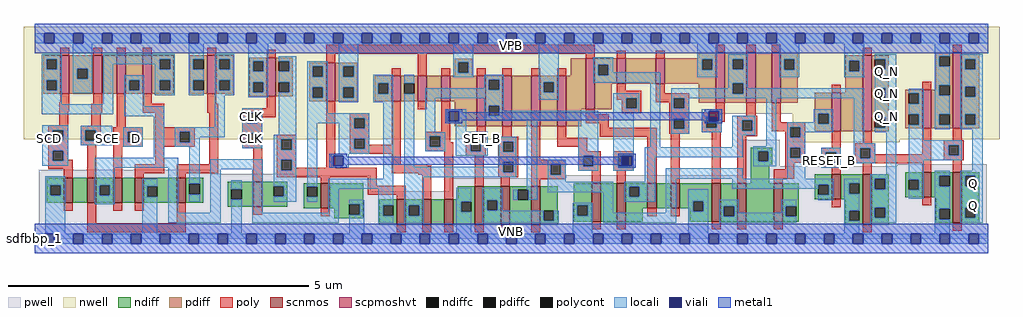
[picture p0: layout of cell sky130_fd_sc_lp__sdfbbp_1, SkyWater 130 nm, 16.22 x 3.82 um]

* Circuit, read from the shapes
.subckt sky130_fd_sc_lp__sdfbbp_1 CLK D RESET_B SCD SCE SET_B VGND VNB VPB VPWR Q Q_N
XM1 n1 SCD VGND VNB sky130_fd_pr__nfet_01v8 w=0.42 l=0.15
XM2 n2 SCE n1 VNB sky130_fd_pr__nfet_01v8 w=0.42 l=0.15
XM3 n3 D n2 VNB sky130_fd_pr__nfet_01v8 w=0.42 l=0.15
XM4 VGND n4 n3 VNB sky130_fd_pr__nfet_01v8 w=0.42 l=0.15
XM5 n4 SCE VGND VNB sky130_fd_pr__nfet_01v8 w=0.42 l=0.15
XM6 n5 CLK VGND VNB sky130_fd_pr__nfet_01v8 w=0.42 l=0.15
XM7 VGND n5 n6 VNB sky130_fd_pr__nfet_01v8 w=0.42 l=0.15
XM8 n7 n5 n2 VNB sky130_fd_pr__nfet_01v8 w=0.42 l=0.15
XM9 n8 n6 n7 VNB sky130_fd_pr__nfet_01v8 w=0.42 l=0.15
XM10 VGND n9 n8 VNB sky130_fd_pr__nfet_01v8 w=0.42 l=0.15
XM11 n10 SET_B VGND VNB sky130_fd_pr__nfet_01v8 w=0.64 l=0.15
XM12 n9 n7 n10 VNB sky130_fd_pr__nfet_01v8 w=0.64 l=0.15
XM13 n10 n11 n9 VNB sky130_fd_pr__nfet_01v8 w=0.64 l=0.15
XM14 n12 n9 VGND VNB sky130_fd_pr__nfet_01v8 w=0.64 l=0.15
XM15 n13 n6 n12 VNB sky130_fd_pr__nfet_01v8 w=0.64 l=0.15
XM16 n14 n5 n13 VNB sky130_fd_pr__nfet_01v8 w=0.42 l=0.15
XM17 VGND n15 n14 VNB sky130_fd_pr__nfet_01v8 w=0.42 l=0.15
XM18 n16 SET_B VGND VNB sky130_fd_pr__nfet_01v8 w=0.64 l=0.15
XM19 n15 n13 n16 VNB sky130_fd_pr__nfet_01v8 w=0.64 l=0.15
XM20 n16 n11 n15 VNB sky130_fd_pr__nfet_01v8 w=0.64 l=0.15
XM21 VGND RESET_B n11 VNB sky130_fd_pr__nfet_01v8 w=0.42 l=0.15
XM22 Q_N n15 VGND VNB sky130_fd_pr__nfet_01v8 w=0.84 l=0.15
XM23 VGND n15 n17 VNB sky130_fd_pr__nfet_01v8 w=0.42 l=0.15
XM24 Q n17 VGND VNB sky130_fd_pr__nfet_01v8 w=0.84 l=0.15
XM25 VPWR SCD n18 VPB sky130_fd_pr__pfet_01v8_hvt w=0.64 l=0.15
XM26 n19 SCE VPWR VPB sky130_fd_pr__pfet_01v8_hvt w=0.64 l=0.15
XM27 n2 D n19 VPB sky130_fd_pr__pfet_01v8_hvt w=0.64 l=0.15
XM28 n18 n4 n2 VPB sky130_fd_pr__pfet_01v8_hvt w=0.64 l=0.15
XM29 n4 SCE VPWR VPB sky130_fd_pr__pfet_01v8_hvt w=0.64 l=0.15
XM30 n5 CLK VPWR VPB sky130_fd_pr__pfet_01v8_hvt w=0.64 l=0.15
XM31 VPWR n5 n6 VPB sky130_fd_pr__pfet_01v8_hvt w=0.64 l=0.15
XM32 n7 n6 n2 VPB sky130_fd_pr__pfet_01v8_hvt w=0.42 l=0.15
XM33 n20 n5 n7 VPB sky130_fd_pr__pfet_01v8_hvt w=0.42 l=0.15
XM34 VPWR n9 n20 VPB sky130_fd_pr__pfet_01v8_hvt w=0.42 l=0.15
XM35 n9 SET_B VPWR VPB sky130_fd_pr__pfet_01v8_hvt w=0.84 l=0.15
XM36 n21 n7 n9 VPB sky130_fd_pr__pfet_01v8_hvt w=0.84 l=0.15
XM37 VPWR n11 n21 VPB sky130_fd_pr__pfet_01v8_hvt w=0.84 l=0.15
XM38 n22 n9 VPWR VPB sky130_fd_pr__pfet_01v8_hvt w=0.84 l=0.15
XM39 n13 n5 n22 VPB sky130_fd_pr__pfet_01v8_hvt w=0.84 l=0.15
XM40 n23 n6 n13 VPB sky130_fd_pr__pfet_01v8_hvt w=0.42 l=0.15
XM41 VPWR n15 n23 VPB sky130_fd_pr__pfet_01v8_hvt w=0.42 l=0.15
XM42 n15 SET_B VPWR VPB sky130_fd_pr__pfet_01v8_hvt w=0.84 l=0.15
XM43 n24 n13 n15 VPB sky130_fd_pr__pfet_01v8_hvt w=0.84 l=0.15
XM44 VPWR n11 n24 VPB sky130_fd_pr__pfet_01v8_hvt w=0.84 l=0.15
XM45 VPWR RESET_B n11 VPB sky130_fd_pr__pfet_01v8_hvt w=0.64 l=0.15
XM46 Q_N n15 VPWR VPB sky130_fd_pr__pfet_01v8_hvt w=1.26 l=0.15
XM47 VPWR n15 n17 VPB sky130_fd_pr__pfet_01v8_hvt w=0.64 l=0.15
XM48 Q n17 VPWR VPB sky130_fd_pr__pfet_01v8_hvt w=1.26 l=0.15
.ends

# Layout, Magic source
magic
tech sky130A
magscale 1 2
<< nwell >>
rect -38 415 3206 704
rect -38 331 2264 415
rect 2518 331 3206 415
rect 2518 321 2874 331
<< pwell >>
rect 2354 241 2476 329
rect 2866 241 3164 247
rect 13 216 585 229
rect 13 211 865 216
rect 2354 211 3164 241
rect 13 157 1117 211
rect 1765 201 3164 211
rect 1379 157 3164 201
rect 13 49 3164 157
rect 0 0 3168 49
<< scnmos >>
rect 96 119 126 203
rect 174 119 204 203
rect 260 119 290 203
rect 332 119 362 203
rect 472 119 502 203
rect 725 106 755 190
rect 950 101 980 185
rect 1202 47 1232 131
rect 1288 47 1318 131
rect 1360 47 1390 131
rect 1462 47 1492 175
rect 1548 47 1578 175
rect 1650 47 1680 175
rect 1850 57 1880 185
rect 1934 57 1964 185
rect 2036 101 2066 185
rect 2114 101 2144 185
rect 2249 57 2279 185
rect 2335 57 2365 185
rect 2455 57 2485 185
rect 2649 131 2679 215
rect 2751 47 2781 215
rect 2949 137 2979 221
rect 3051 53 3081 221
<< scpmoshvt >>
rect 84 481 114 609
rect 194 481 224 609
rect 272 481 302 609
rect 358 481 388 609
rect 572 481 602 609
rect 770 474 800 602
rect 968 457 998 585
rect 1186 457 1216 541
rect 1272 457 1302 541
rect 1350 457 1380 541
rect 1468 373 1498 541
rect 1554 373 1584 541
rect 1650 373 1680 541
rect 1736 373 1766 541
rect 1831 431 1861 599
rect 1933 515 1963 599
rect 2064 515 2094 599
rect 2263 451 2293 619
rect 2365 451 2395 619
rect 2449 451 2479 619
rect 2649 357 2679 485
rect 2751 357 2781 609
rect 2949 367 2979 495
rect 3051 367 3081 619
<< ndiff >>
rect 39 178 96 203
rect 39 144 51 178
rect 85 144 96 178
rect 39 119 96 144
rect 126 119 174 203
rect 204 178 260 203
rect 204 144 215 178
rect 249 144 260 178
rect 204 119 260 144
rect 290 119 332 203
rect 362 174 472 203
rect 362 140 373 174
rect 407 140 472 174
rect 362 119 472 140
rect 502 182 559 203
rect 502 148 513 182
rect 547 148 559 182
rect 502 119 559 148
rect 641 165 725 190
rect 641 131 653 165
rect 687 131 725 165
rect 641 106 725 131
rect 755 175 839 190
rect 755 141 793 175
rect 827 141 839 175
rect 755 106 839 141
rect 893 173 950 185
rect 893 139 905 173
rect 939 139 950 173
rect 893 101 950 139
rect 980 114 1091 185
rect 2380 291 2450 303
rect 2380 257 2404 291
rect 2438 257 2450 291
rect 2380 245 2450 257
rect 2380 185 2440 245
rect 1405 131 1462 175
rect 980 101 1045 114
rect 995 80 1045 101
rect 1079 80 1091 114
rect 995 68 1091 80
rect 1145 111 1202 131
rect 1145 77 1157 111
rect 1191 77 1202 111
rect 1145 47 1202 77
rect 1232 111 1288 131
rect 1232 77 1243 111
rect 1277 77 1288 111
rect 1232 47 1288 77
rect 1318 47 1360 131
rect 1390 123 1462 131
rect 1390 89 1417 123
rect 1451 89 1462 123
rect 1390 47 1462 89
rect 1492 128 1548 175
rect 1492 94 1503 128
rect 1537 94 1548 128
rect 1492 47 1548 94
rect 1578 163 1650 175
rect 1578 129 1605 163
rect 1639 129 1650 163
rect 1578 47 1650 129
rect 1680 93 1737 175
rect 1680 59 1691 93
rect 1725 59 1737 93
rect 1680 47 1737 59
rect 1791 111 1850 185
rect 1791 77 1803 111
rect 1837 77 1850 111
rect 1791 57 1850 77
rect 1880 57 1934 185
rect 1964 173 2036 185
rect 1964 139 1975 173
rect 2009 139 2036 173
rect 1964 101 2036 139
rect 2066 101 2114 185
rect 2144 125 2249 185
rect 2144 101 2188 125
rect 1964 57 2021 101
rect 2176 91 2188 101
rect 2222 91 2249 125
rect 2176 57 2249 91
rect 2279 108 2335 185
rect 2279 74 2290 108
rect 2324 74 2335 108
rect 2279 57 2335 74
rect 2365 57 2455 185
rect 2485 108 2538 185
rect 2592 180 2649 215
rect 2592 146 2604 180
rect 2638 146 2649 180
rect 2592 131 2649 146
rect 2679 184 2751 215
rect 2679 150 2706 184
rect 2740 150 2751 184
rect 2679 131 2751 150
rect 2485 74 2496 108
rect 2530 74 2538 108
rect 2485 57 2538 74
rect 2694 93 2751 131
rect 2694 59 2706 93
rect 2740 59 2751 93
rect 2694 47 2751 59
rect 2781 199 2838 215
rect 2781 165 2792 199
rect 2826 165 2838 199
rect 2781 103 2838 165
rect 2892 196 2949 221
rect 2892 162 2904 196
rect 2938 162 2949 196
rect 2892 137 2949 162
rect 2979 209 3051 221
rect 2979 175 3006 209
rect 3040 175 3051 209
rect 2979 137 3051 175
rect 2781 69 2792 103
rect 2826 69 2838 103
rect 2781 47 2838 69
rect 2994 99 3051 137
rect 2994 65 3006 99
rect 3040 65 3051 99
rect 2994 53 3051 65
rect 3081 209 3138 221
rect 3081 175 3092 209
rect 3126 175 3138 209
rect 3081 103 3138 175
rect 3081 69 3092 103
rect 3126 69 3138 103
rect 3081 53 3138 69
<< pdiff >>
rect 27 597 84 609
rect 27 563 39 597
rect 73 563 84 597
rect 27 527 84 563
rect 27 493 39 527
rect 73 493 84 527
rect 27 481 84 493
rect 114 565 194 609
rect 114 531 141 565
rect 175 531 194 565
rect 114 481 194 531
rect 224 481 272 609
rect 302 527 358 609
rect 302 493 313 527
rect 347 493 358 527
rect 302 481 358 493
rect 388 597 461 609
rect 388 563 415 597
rect 449 563 461 597
rect 388 527 461 563
rect 388 493 415 527
rect 449 493 461 527
rect 388 481 461 493
rect 515 597 572 609
rect 515 563 527 597
rect 561 563 572 597
rect 515 527 572 563
rect 515 493 527 527
rect 561 493 572 527
rect 515 481 572 493
rect 602 597 659 609
rect 602 563 613 597
rect 647 563 659 597
rect 602 527 659 563
rect 602 493 613 527
rect 647 493 659 527
rect 602 481 659 493
rect 713 590 770 602
rect 713 556 725 590
rect 759 556 770 590
rect 713 520 770 556
rect 713 486 725 520
rect 759 486 770 520
rect 713 474 770 486
rect 800 590 857 602
rect 800 556 811 590
rect 845 556 857 590
rect 800 520 857 556
rect 800 486 811 520
rect 845 486 857 520
rect 800 474 857 486
rect 911 573 968 585
rect 911 539 923 573
rect 957 539 968 573
rect 911 503 968 539
rect 911 469 923 503
rect 957 469 968 503
rect 911 457 968 469
rect 998 573 1071 585
rect 998 539 1025 573
rect 1059 539 1071 573
rect 2206 599 2263 619
rect 1395 586 1453 598
rect 1395 552 1407 586
rect 1441 552 1453 586
rect 1395 541 1453 552
rect 1781 541 1831 599
rect 998 503 1071 539
rect 998 469 1025 503
rect 1059 469 1071 503
rect 998 457 1071 469
rect 1129 516 1186 541
rect 1129 482 1141 516
rect 1175 482 1186 516
rect 1129 457 1186 482
rect 1216 516 1272 541
rect 1216 482 1227 516
rect 1261 482 1272 516
rect 1216 457 1272 482
rect 1302 457 1350 541
rect 1380 457 1468 541
rect 1395 373 1468 457
rect 1498 529 1554 541
rect 1498 495 1509 529
rect 1543 495 1554 529
rect 1498 442 1554 495
rect 1498 408 1509 442
rect 1543 408 1554 442
rect 1498 373 1554 408
rect 1584 373 1650 541
rect 1680 520 1736 541
rect 1680 486 1691 520
rect 1725 486 1736 520
rect 1680 373 1736 486
rect 1766 431 1831 541
rect 1861 578 1933 599
rect 1861 544 1872 578
rect 1906 544 1933 578
rect 1861 515 1933 544
rect 1963 515 2064 599
rect 2094 596 2263 599
rect 2094 562 2218 596
rect 2252 562 2263 596
rect 2094 515 2263 562
rect 1861 431 1918 515
rect 1766 373 1816 431
rect 2206 451 2263 515
rect 2293 597 2365 619
rect 2293 563 2320 597
rect 2354 563 2365 597
rect 2293 516 2365 563
rect 2293 482 2320 516
rect 2354 482 2365 516
rect 2293 451 2365 482
rect 2395 451 2449 619
rect 2479 596 2536 619
rect 2479 562 2490 596
rect 2524 562 2536 596
rect 2479 451 2536 562
rect 2694 591 2751 609
rect 2694 557 2706 591
rect 2740 557 2751 591
rect 2694 485 2751 557
rect 2592 416 2649 485
rect 2592 382 2604 416
rect 2638 382 2649 416
rect 2592 357 2649 382
rect 2679 357 2751 485
rect 2781 597 2838 609
rect 2781 563 2792 597
rect 2826 563 2838 597
rect 2781 500 2838 563
rect 2994 607 3051 619
rect 2994 573 3006 607
rect 3040 573 3051 607
rect 2781 466 2792 500
rect 2826 466 2838 500
rect 2994 510 3051 573
rect 2994 495 3006 510
rect 2781 403 2838 466
rect 2781 369 2792 403
rect 2826 369 2838 403
rect 2781 357 2838 369
rect 2892 483 2949 495
rect 2892 449 2904 483
rect 2938 449 2949 483
rect 2892 413 2949 449
rect 2892 379 2904 413
rect 2938 379 2949 413
rect 2892 367 2949 379
rect 2979 476 3006 495
rect 3040 476 3051 510
rect 2979 413 3051 476
rect 2979 379 3006 413
rect 3040 379 3051 413
rect 2979 367 3051 379
rect 3081 597 3138 619
rect 3081 563 3092 597
rect 3126 563 3138 597
rect 3081 505 3138 563
rect 3081 471 3092 505
rect 3126 471 3138 505
rect 3081 413 3138 471
rect 3081 379 3092 413
rect 3126 379 3138 413
rect 3081 367 3138 379
<< ndiffc >>
rect 51 144 85 178
rect 215 144 249 178
rect 373 140 407 174
rect 513 148 547 182
rect 653 131 687 165
rect 793 141 827 175
rect 905 139 939 173
rect 2404 257 2438 291
rect 1045 80 1079 114
rect 1157 77 1191 111
rect 1243 77 1277 111
rect 1417 89 1451 123
rect 1503 94 1537 128
rect 1605 129 1639 163
rect 1691 59 1725 93
rect 1803 77 1837 111
rect 1975 139 2009 173
rect 2188 91 2222 125
rect 2290 74 2324 108
rect 2604 146 2638 180
rect 2706 150 2740 184
rect 2496 74 2530 108
rect 2706 59 2740 93
rect 2792 165 2826 199
rect 2904 162 2938 196
rect 3006 175 3040 209
rect 2792 69 2826 103
rect 3006 65 3040 99
rect 3092 175 3126 209
rect 3092 69 3126 103
<< pdiffc >>
rect 39 563 73 597
rect 39 493 73 527
rect 141 531 175 565
rect 313 493 347 527
rect 415 563 449 597
rect 415 493 449 527
rect 527 563 561 597
rect 527 493 561 527
rect 613 563 647 597
rect 613 493 647 527
rect 725 556 759 590
rect 725 486 759 520
rect 811 556 845 590
rect 811 486 845 520
rect 923 539 957 573
rect 923 469 957 503
rect 1025 539 1059 573
rect 1407 552 1441 586
rect 1025 469 1059 503
rect 1141 482 1175 516
rect 1227 482 1261 516
rect 1509 495 1543 529
rect 1509 408 1543 442
rect 1691 486 1725 520
rect 1872 544 1906 578
rect 2218 562 2252 596
rect 2320 563 2354 597
rect 2320 482 2354 516
rect 2490 562 2524 596
rect 2706 557 2740 591
rect 2604 382 2638 416
rect 2792 563 2826 597
rect 3006 573 3040 607
rect 2792 466 2826 500
rect 2792 369 2826 403
rect 2904 449 2938 483
rect 2904 379 2938 413
rect 3006 476 3040 510
rect 3006 379 3040 413
rect 3092 563 3126 597
rect 3092 471 3126 505
rect 3092 379 3126 413
<< poly >>
rect 84 609 114 635
rect 194 609 224 635
rect 272 609 302 635
rect 358 609 388 635
rect 572 609 602 635
rect 770 602 800 628
rect 968 615 1861 645
rect 84 454 114 481
rect 80 424 114 454
rect 194 449 224 481
rect 80 377 110 424
rect 44 361 110 377
rect 188 419 224 449
rect 188 376 218 419
rect 44 327 60 361
rect 94 327 110 361
rect 44 293 110 327
rect 152 360 218 376
rect 272 371 302 481
rect 358 449 388 481
rect 572 449 602 481
rect 968 585 998 615
rect 358 419 430 449
rect 572 419 609 449
rect 770 434 800 474
rect 1186 541 1216 567
rect 1272 541 1302 615
rect 1831 599 1861 615
rect 1933 599 1963 625
rect 2064 599 2094 625
rect 2263 619 2293 645
rect 2365 619 2395 645
rect 2449 619 2479 645
rect 1350 541 1380 567
rect 1468 541 1498 567
rect 1554 541 1584 567
rect 1650 541 1680 567
rect 1736 541 1766 567
rect 400 371 430 419
rect 152 326 168 360
rect 202 326 218 360
rect 152 310 218 326
rect 260 355 358 371
rect 260 321 308 355
rect 342 321 358 355
rect 44 259 60 293
rect 94 262 110 293
rect 94 259 126 262
rect 44 232 126 259
rect 96 203 126 232
rect 174 203 204 310
rect 260 305 358 321
rect 400 355 531 371
rect 400 321 481 355
rect 515 321 531 355
rect 400 305 531 321
rect 260 203 290 305
rect 400 248 430 305
rect 579 248 609 419
rect 689 418 800 434
rect 689 384 705 418
rect 739 404 800 418
rect 739 384 755 404
rect 689 350 755 384
rect 689 316 705 350
rect 739 316 755 350
rect 689 300 755 316
rect 332 218 430 248
rect 472 218 609 248
rect 332 203 362 218
rect 472 203 502 218
rect 725 190 755 300
rect 803 330 869 346
rect 803 296 819 330
rect 853 296 869 330
rect 803 262 869 296
rect 803 228 819 262
rect 853 235 869 262
rect 968 235 998 457
rect 1046 401 1112 417
rect 1046 367 1062 401
rect 1096 367 1112 401
rect 1046 333 1112 367
rect 1046 299 1062 333
rect 1096 313 1112 333
rect 1186 313 1216 457
rect 1272 431 1302 457
rect 1350 356 1380 457
rect 1933 491 1963 515
rect 1933 467 2016 491
rect 1933 461 1966 467
rect 1950 433 1966 461
rect 2000 433 2016 467
rect 2064 483 2094 515
rect 2064 467 2174 483
rect 2064 453 2124 467
rect 1831 413 1861 431
rect 1950 417 2016 433
rect 2108 433 2124 453
rect 2158 433 2174 467
rect 2751 609 2781 635
rect 3051 619 3081 645
rect 2649 485 2679 511
rect 1831 383 1908 413
rect 1096 299 1216 313
rect 1046 283 1216 299
rect 1297 340 1380 356
rect 1468 341 1498 373
rect 1297 306 1313 340
rect 1347 320 1380 340
rect 1432 325 1498 341
rect 1554 339 1584 373
rect 1347 306 1390 320
rect 1297 290 1390 306
rect 1186 248 1216 283
rect 1186 242 1304 248
rect 853 228 1136 235
rect 803 205 1136 228
rect 1186 218 1318 242
rect 1274 212 1318 218
rect 96 93 126 119
rect 174 51 204 119
rect 260 93 290 119
rect 332 93 362 119
rect 472 51 502 119
rect 950 185 980 205
rect 725 80 755 106
rect 1106 176 1136 205
rect 1106 146 1232 176
rect 1202 131 1232 146
rect 1288 131 1318 212
rect 1360 131 1390 290
rect 1432 291 1448 325
rect 1482 291 1498 325
rect 1432 275 1498 291
rect 1540 323 1606 339
rect 1540 289 1556 323
rect 1590 289 1606 323
rect 1462 175 1492 275
rect 1540 255 1606 289
rect 1540 221 1556 255
rect 1590 221 1606 255
rect 1540 205 1606 221
rect 1650 263 1680 373
rect 1736 335 1766 373
rect 1878 369 1908 383
rect 2108 399 2174 433
rect 2263 419 2293 451
rect 1878 339 2066 369
rect 2108 365 2124 399
rect 2158 365 2174 399
rect 2108 349 2174 365
rect 2216 403 2293 419
rect 2365 409 2395 451
rect 2216 369 2232 403
rect 2266 389 2293 403
rect 2335 393 2401 409
rect 2266 369 2282 389
rect 2216 353 2282 369
rect 2335 359 2351 393
rect 2385 359 2401 393
rect 1736 305 1836 335
rect 1806 291 1836 305
rect 1806 275 1880 291
rect 1650 247 1764 263
rect 1650 213 1714 247
rect 1748 213 1764 247
rect 1806 241 1822 275
rect 1856 241 1880 275
rect 1806 225 1880 241
rect 1922 275 1988 291
rect 1922 241 1938 275
rect 1972 241 1988 275
rect 1922 225 1988 241
rect 1548 175 1578 205
rect 1650 197 1764 213
rect 1650 175 1680 197
rect 1850 185 1880 225
rect 1934 185 1964 225
rect 2036 185 2066 339
rect 2114 185 2144 349
rect 2249 185 2279 353
rect 2335 341 2401 359
rect 2449 387 2479 451
rect 2449 371 2560 387
rect 2449 357 2510 371
rect 2335 185 2365 341
rect 2494 337 2510 357
rect 2544 337 2560 371
rect 2949 495 2979 521
rect 2494 303 2560 337
rect 2649 303 2679 357
rect 2751 317 2781 357
rect 2494 269 2510 303
rect 2544 269 2560 303
rect 2494 253 2560 269
rect 2613 287 2679 303
rect 2613 253 2629 287
rect 2663 253 2679 287
rect 2494 230 2524 253
rect 2613 237 2679 253
rect 2727 301 2793 317
rect 2727 267 2743 301
rect 2777 281 2793 301
rect 2949 281 2979 367
rect 3051 327 3081 367
rect 2777 267 2979 281
rect 2727 251 2979 267
rect 3021 311 3087 327
rect 3021 277 3037 311
rect 3071 277 3087 311
rect 3021 261 3087 277
rect 2455 200 2524 230
rect 2649 215 2679 237
rect 2751 215 2781 251
rect 2949 221 2979 251
rect 3051 221 3081 261
rect 2455 185 2485 200
rect 950 75 980 101
rect 174 21 502 51
rect 2036 75 2066 101
rect 2114 75 2144 101
rect 2649 105 2679 131
rect 1202 21 1232 47
rect 1288 21 1318 47
rect 1360 21 1390 47
rect 1462 21 1492 47
rect 1548 21 1578 47
rect 1650 21 1680 47
rect 1850 31 1880 57
rect 1934 31 1964 57
rect 2249 31 2279 57
rect 2335 31 2365 57
rect 2455 31 2485 57
rect 2949 111 2979 137
rect 2751 21 2781 47
rect 3051 27 3081 53
<< polycont >>
rect 60 327 94 361
rect 168 326 202 360
rect 308 321 342 355
rect 60 259 94 293
rect 481 321 515 355
rect 705 384 739 418
rect 705 316 739 350
rect 819 296 853 330
rect 819 228 853 262
rect 1062 367 1096 401
rect 1062 299 1096 333
rect 1966 433 2000 467
rect 2124 433 2158 467
rect 1313 306 1347 340
rect 1448 291 1482 325
rect 1556 289 1590 323
rect 1556 221 1590 255
rect 2124 365 2158 399
rect 2232 369 2266 403
rect 2351 359 2385 393
rect 1714 213 1748 247
rect 1822 241 1856 275
rect 1938 241 1972 275
rect 2510 337 2544 371
rect 2510 269 2544 303
rect 2629 253 2663 287
rect 2743 267 2777 301
rect 3037 277 3071 311
<< locali >>
rect 0 649 31 683
rect 65 649 127 683
rect 161 649 223 683
rect 257 649 319 683
rect 353 649 415 683
rect 449 649 511 683
rect 545 649 607 683
rect 641 649 703 683
rect 737 649 799 683
rect 833 649 895 683
rect 929 649 991 683
rect 1025 649 1087 683
rect 1121 649 1183 683
rect 1217 649 1279 683
rect 1313 649 1375 683
rect 1409 649 1471 683
rect 1505 649 1567 683
rect 1601 649 1663 683
rect 1697 649 1759 683
rect 1793 649 1855 683
rect 1889 649 1951 683
rect 1985 649 2047 683
rect 2081 649 2143 683
rect 2177 649 2239 683
rect 2273 649 2335 683
rect 2369 649 2431 683
rect 2465 649 2527 683
rect 2561 649 2623 683
rect 2657 649 2719 683
rect 2753 649 2815 683
rect 2849 649 2911 683
rect 2945 649 3007 683
rect 3041 649 3103 683
rect 3137 649 3168 683
rect 23 597 89 613
rect 23 563 39 597
rect 73 563 89 597
rect 23 527 89 563
rect 23 493 39 527
rect 73 493 89 527
rect 23 447 89 493
rect 125 565 191 649
rect 125 531 141 565
rect 175 531 191 565
rect 125 483 191 531
rect 227 597 465 613
rect 227 579 415 597
rect 227 447 261 579
rect 399 563 415 579
rect 449 563 465 597
rect 23 413 261 447
rect 297 527 363 543
rect 297 493 313 527
rect 347 493 363 527
rect 297 441 363 493
rect 399 527 465 563
rect 399 493 415 527
rect 449 493 465 527
rect 399 477 465 493
rect 511 597 561 649
rect 511 563 527 597
rect 511 527 561 563
rect 511 493 527 527
rect 511 477 561 493
rect 597 597 663 613
rect 597 563 613 597
rect 647 563 663 597
rect 597 527 663 563
rect 597 493 613 527
rect 647 493 663 527
rect 597 477 663 493
rect 709 590 775 649
rect 709 556 725 590
rect 759 556 775 590
rect 709 520 775 556
rect 709 486 725 520
rect 759 486 775 520
rect 297 407 429 441
rect 25 361 110 377
rect 25 327 60 361
rect 94 327 110 361
rect 25 293 110 327
rect 152 360 257 376
rect 152 326 168 360
rect 202 326 257 360
rect 152 310 257 326
rect 293 355 359 371
rect 293 321 308 355
rect 342 321 359 355
rect 293 305 359 321
rect 25 259 60 293
rect 94 259 110 293
rect 395 269 429 407
rect 597 371 631 477
rect 709 470 775 486
rect 811 590 869 606
rect 845 556 869 590
rect 811 520 869 556
rect 845 486 869 520
rect 465 355 631 371
rect 465 321 481 355
rect 515 337 631 355
rect 689 418 755 434
rect 689 384 705 418
rect 739 384 755 418
rect 689 350 755 384
rect 515 321 547 337
rect 465 305 547 321
rect 25 243 110 259
rect 199 235 477 269
rect 35 178 101 207
rect 35 144 51 178
rect 85 144 101 178
rect 35 17 101 144
rect 199 178 265 235
rect 199 144 215 178
rect 249 144 265 178
rect 199 115 265 144
rect 357 174 407 199
rect 357 140 373 174
rect 357 17 407 140
rect 443 87 477 235
rect 513 182 547 305
rect 689 316 705 350
rect 739 316 755 350
rect 811 346 869 486
rect 689 300 755 316
rect 793 330 869 346
rect 793 296 819 330
rect 853 296 869 330
rect 513 123 547 148
rect 583 230 757 264
rect 583 87 617 230
rect 443 53 617 87
rect 653 165 687 194
rect 653 17 687 131
rect 723 87 757 230
rect 793 262 869 296
rect 793 228 819 262
rect 853 228 869 262
rect 793 175 869 228
rect 827 141 869 175
rect 793 123 869 141
rect 905 573 973 589
rect 905 539 923 573
rect 957 539 973 573
rect 905 503 973 539
rect 905 469 923 503
rect 957 469 973 503
rect 905 417 973 469
rect 1009 573 1075 649
rect 1009 539 1025 573
rect 1059 539 1075 573
rect 1391 586 1457 649
rect 1391 552 1407 586
rect 1441 552 1457 586
rect 1009 503 1075 539
rect 1009 469 1025 503
rect 1059 469 1075 503
rect 1009 453 1075 469
rect 1125 516 1191 545
rect 1125 482 1141 516
rect 1175 482 1191 516
rect 1125 453 1191 482
rect 905 401 1112 417
rect 905 383 1062 401
rect 905 173 939 383
rect 1009 367 1062 383
rect 1096 367 1112 401
rect 1009 333 1112 367
rect 1009 299 1062 333
rect 1096 299 1112 333
rect 1009 283 1112 299
rect 1009 282 1043 283
rect 985 276 1043 282
rect 985 242 991 276
rect 1025 242 1043 276
rect 985 236 1043 242
rect 1157 200 1191 453
rect 905 123 939 139
rect 975 166 1191 200
rect 975 87 1009 166
rect 723 53 1009 87
rect 1045 114 1095 130
rect 1079 80 1095 114
rect 1045 17 1095 80
rect 1141 111 1191 166
rect 1141 77 1157 111
rect 1141 53 1191 77
rect 1227 516 1261 545
rect 1391 536 1457 552
rect 1493 529 1559 545
rect 1493 500 1509 529
rect 1227 239 1261 482
rect 1297 495 1509 500
rect 1543 495 1559 529
rect 1297 466 1559 495
rect 1297 354 1331 466
rect 1493 442 1559 466
rect 1675 520 1741 649
rect 1675 486 1691 520
rect 1725 486 1741 520
rect 1856 578 1922 603
rect 1856 544 1872 578
rect 1906 553 1922 578
rect 2202 596 2268 649
rect 2202 562 2218 596
rect 2252 562 2268 596
rect 1906 544 2079 553
rect 1856 519 2079 544
rect 2202 536 2268 562
rect 2304 597 2370 613
rect 2304 563 2320 597
rect 2354 563 2370 597
rect 1675 462 1741 486
rect 1922 467 2009 483
rect 1369 424 1433 430
rect 1369 390 1375 424
rect 1409 390 1433 424
rect 1493 408 1509 442
rect 1543 426 1559 442
rect 1922 433 1966 467
rect 2000 433 2009 467
rect 1543 408 1872 426
rect 1493 392 1872 408
rect 1399 356 1433 390
rect 1297 340 1363 354
rect 1297 306 1313 340
rect 1347 306 1363 340
rect 1297 290 1363 306
rect 1399 325 1505 356
rect 1399 291 1448 325
rect 1482 291 1505 325
rect 1399 275 1505 291
rect 1541 323 1599 339
rect 1541 289 1556 323
rect 1590 289 1599 323
rect 1541 255 1599 289
rect 1541 239 1556 255
rect 1227 221 1556 239
rect 1590 221 1599 255
rect 1227 205 1599 221
rect 1227 111 1293 205
rect 1227 77 1243 111
rect 1277 77 1293 111
rect 1227 53 1293 77
rect 1401 123 1451 169
rect 1401 89 1417 123
rect 1401 17 1451 89
rect 1487 128 1553 169
rect 1635 163 1669 392
rect 1806 275 1872 392
rect 1589 129 1605 163
rect 1639 129 1669 163
rect 1705 247 1764 263
rect 1705 213 1714 247
rect 1748 213 1764 247
rect 1806 241 1822 275
rect 1856 241 1872 275
rect 1806 225 1872 241
rect 1922 417 2009 433
rect 1922 276 1991 417
rect 2045 304 2079 519
rect 2304 516 2370 563
rect 2474 596 2540 649
rect 2474 562 2490 596
rect 2524 562 2540 596
rect 2474 536 2540 562
rect 2690 591 2756 649
rect 2690 557 2706 591
rect 2740 557 2756 591
rect 2690 536 2756 557
rect 2792 597 2863 613
rect 2826 563 2863 597
rect 2304 500 2320 516
rect 2115 482 2320 500
rect 2354 500 2370 516
rect 2792 500 2863 563
rect 2354 482 2756 500
rect 2115 467 2756 482
rect 2115 433 2124 467
rect 2158 466 2756 467
rect 2158 433 2174 466
rect 2115 399 2174 433
rect 2115 365 2124 399
rect 2158 365 2174 399
rect 2115 349 2174 365
rect 2216 424 2282 430
rect 2216 403 2239 424
rect 2216 369 2232 403
rect 2273 390 2282 424
rect 2266 369 2282 390
rect 2216 353 2282 369
rect 2318 393 2394 409
rect 2318 359 2351 393
rect 2385 359 2394 393
rect 2318 343 2394 359
rect 2318 304 2352 343
rect 2430 307 2464 466
rect 2588 416 2654 430
rect 2588 387 2604 416
rect 1922 275 1951 276
rect 1922 241 1938 275
rect 1985 242 1991 276
rect 1972 241 1991 242
rect 1922 225 1991 241
rect 2027 270 2352 304
rect 2388 291 2464 307
rect 1705 189 1764 213
rect 2027 189 2061 270
rect 2388 257 2404 291
rect 2438 257 2464 291
rect 2388 241 2464 257
rect 2500 382 2604 387
rect 2638 382 2654 416
rect 2500 371 2654 382
rect 2500 337 2510 371
rect 2544 353 2654 371
rect 2544 337 2560 353
rect 2500 303 2560 337
rect 2722 317 2756 466
rect 2826 466 2863 500
rect 2990 607 3040 649
rect 2990 573 3006 607
rect 2990 510 3040 573
rect 2792 403 2863 466
rect 2826 369 2863 403
rect 2792 353 2863 369
rect 2500 269 2510 303
rect 2544 269 2560 303
rect 1705 155 1923 189
rect 1487 94 1503 128
rect 1537 94 1553 128
rect 1487 93 1553 94
rect 1787 111 1853 119
rect 1487 59 1691 93
rect 1725 59 1741 93
rect 1487 53 1741 59
rect 1787 77 1803 111
rect 1837 77 1853 111
rect 1787 17 1853 77
rect 1889 87 1923 155
rect 1959 173 2061 189
rect 1959 139 1975 173
rect 2009 139 2061 173
rect 1959 123 2061 139
rect 2097 200 2352 234
rect 2500 200 2560 269
rect 2613 287 2679 303
rect 2613 253 2629 287
rect 2663 253 2679 287
rect 2613 236 2679 253
rect 2722 301 2793 317
rect 2722 267 2743 301
rect 2777 267 2793 301
rect 2722 251 2793 267
rect 2829 215 2863 353
rect 2097 87 2131 200
rect 2318 180 2654 200
rect 2318 166 2604 180
rect 1889 53 2131 87
rect 2172 125 2238 164
rect 2638 146 2654 180
rect 2172 91 2188 125
rect 2222 91 2238 125
rect 2172 17 2238 91
rect 2274 108 2340 130
rect 2274 74 2290 108
rect 2324 87 2340 108
rect 2480 108 2530 130
rect 2604 127 2654 146
rect 2690 184 2740 200
rect 2690 150 2706 184
rect 2480 87 2496 108
rect 2324 74 2496 87
rect 2274 53 2530 74
rect 2690 93 2740 150
rect 2690 59 2706 93
rect 2690 17 2740 59
rect 2776 199 2863 215
rect 2776 165 2792 199
rect 2826 165 2863 199
rect 2776 103 2863 165
rect 2904 483 2954 499
rect 2938 449 2954 483
rect 2904 413 2954 449
rect 2938 379 2954 413
rect 2904 327 2954 379
rect 2990 476 3006 510
rect 2990 413 3040 476
rect 2990 379 3006 413
rect 2990 363 3040 379
rect 3076 597 3150 613
rect 3076 563 3092 597
rect 3126 563 3150 597
rect 3076 505 3150 563
rect 3076 471 3092 505
rect 3126 471 3150 505
rect 3076 413 3150 471
rect 3076 379 3092 413
rect 3126 379 3150 413
rect 3076 363 3150 379
rect 2904 311 3080 327
rect 2904 277 3037 311
rect 3071 277 3080 311
rect 2904 261 3080 277
rect 2904 196 2954 261
rect 3116 225 3150 363
rect 2938 162 2954 196
rect 2904 133 2954 162
rect 2990 209 3040 225
rect 2990 175 3006 209
rect 2776 69 2792 103
rect 2826 69 2863 103
rect 2776 53 2863 69
rect 2990 99 3040 175
rect 2990 65 3006 99
rect 2990 17 3040 65
rect 3076 209 3150 225
rect 3076 175 3092 209
rect 3126 175 3150 209
rect 3076 103 3150 175
rect 3076 69 3092 103
rect 3126 69 3150 103
rect 3076 53 3150 69
rect 0 -17 31 17
rect 65 -17 127 17
rect 161 -17 223 17
rect 257 -17 319 17
rect 353 -17 415 17
rect 449 -17 511 17
rect 545 -17 607 17
rect 641 -17 703 17
rect 737 -17 799 17
rect 833 -17 895 17
rect 929 -17 991 17
rect 1025 -17 1087 17
rect 1121 -17 1183 17
rect 1217 -17 1279 17
rect 1313 -17 1375 17
rect 1409 -17 1471 17
rect 1505 -17 1567 17
rect 1601 -17 1663 17
rect 1697 -17 1759 17
rect 1793 -17 1855 17
rect 1889 -17 1951 17
rect 1985 -17 2047 17
rect 2081 -17 2143 17
rect 2177 -17 2239 17
rect 2273 -17 2335 17
rect 2369 -17 2431 17
rect 2465 -17 2527 17
rect 2561 -17 2623 17
rect 2657 -17 2719 17
rect 2753 -17 2815 17
rect 2849 -17 2911 17
rect 2945 -17 3007 17
rect 3041 -17 3103 17
rect 3137 -17 3168 17
<< viali >>
rect 31 649 65 683
rect 127 649 161 683
rect 223 649 257 683
rect 319 649 353 683
rect 415 649 449 683
rect 511 649 545 683
rect 607 649 641 683
rect 703 649 737 683
rect 799 649 833 683
rect 895 649 929 683
rect 991 649 1025 683
rect 1087 649 1121 683
rect 1183 649 1217 683
rect 1279 649 1313 683
rect 1375 649 1409 683
rect 1471 649 1505 683
rect 1567 649 1601 683
rect 1663 649 1697 683
rect 1759 649 1793 683
rect 1855 649 1889 683
rect 1951 649 1985 683
rect 2047 649 2081 683
rect 2143 649 2177 683
rect 2239 649 2273 683
rect 2335 649 2369 683
rect 2431 649 2465 683
rect 2527 649 2561 683
rect 2623 649 2657 683
rect 2719 649 2753 683
rect 2815 649 2849 683
rect 2911 649 2945 683
rect 3007 649 3041 683
rect 3103 649 3137 683
rect 991 242 1025 276
rect 1375 390 1409 424
rect 2239 403 2273 424
rect 2239 390 2266 403
rect 2266 390 2273 403
rect 1951 275 1985 276
rect 1951 242 1972 275
rect 1972 242 1985 275
rect 31 -17 65 17
rect 127 -17 161 17
rect 223 -17 257 17
rect 319 -17 353 17
rect 415 -17 449 17
rect 511 -17 545 17
rect 607 -17 641 17
rect 703 -17 737 17
rect 799 -17 833 17
rect 895 -17 929 17
rect 991 -17 1025 17
rect 1087 -17 1121 17
rect 1183 -17 1217 17
rect 1279 -17 1313 17
rect 1375 -17 1409 17
rect 1471 -17 1505 17
rect 1567 -17 1601 17
rect 1663 -17 1697 17
rect 1759 -17 1793 17
rect 1855 -17 1889 17
rect 1951 -17 1985 17
rect 2047 -17 2081 17
rect 2143 -17 2177 17
rect 2239 -17 2273 17
rect 2335 -17 2369 17
rect 2431 -17 2465 17
rect 2527 -17 2561 17
rect 2623 -17 2657 17
rect 2719 -17 2753 17
rect 2815 -17 2849 17
rect 2911 -17 2945 17
rect 3007 -17 3041 17
rect 3103 -17 3137 17
<< metal1 >>
rect 0 683 3168 715
rect 0 649 31 683
rect 65 649 127 683
rect 161 649 223 683
rect 257 649 319 683
rect 353 649 415 683
rect 449 649 511 683
rect 545 649 607 683
rect 641 649 703 683
rect 737 649 799 683
rect 833 649 895 683
rect 929 649 991 683
rect 1025 649 1087 683
rect 1121 649 1183 683
rect 1217 649 1279 683
rect 1313 649 1375 683
rect 1409 649 1471 683
rect 1505 649 1567 683
rect 1601 649 1663 683
rect 1697 649 1759 683
rect 1793 649 1855 683
rect 1889 649 1951 683
rect 1985 649 2047 683
rect 2081 649 2143 683
rect 2177 649 2239 683
rect 2273 649 2335 683
rect 2369 649 2431 683
rect 2465 649 2527 683
rect 2561 649 2623 683
rect 2657 649 2719 683
rect 2753 649 2815 683
rect 2849 649 2911 683
rect 2945 649 3007 683
rect 3041 649 3103 683
rect 3137 649 3168 683
rect 0 617 3168 649
rect 1363 424 1421 430
rect 1363 390 1375 424
rect 1409 421 1421 424
rect 2227 424 2285 430
rect 2227 421 2239 424
rect 1409 393 2239 421
rect 1409 390 1421 393
rect 1363 384 1421 390
rect 2227 390 2239 393
rect 2273 390 2285 424
rect 2227 384 2285 390
rect 979 276 1037 282
rect 979 242 991 276
rect 1025 273 1037 276
rect 1939 276 1997 282
rect 1939 273 1951 276
rect 1025 245 1951 273
rect 1025 242 1037 245
rect 979 236 1037 242
rect 1939 242 1951 245
rect 1985 242 1997 276
rect 1939 236 1997 242
rect 0 17 3168 49
rect 0 -17 31 17
rect 65 -17 127 17
rect 161 -17 223 17
rect 257 -17 319 17
rect 353 -17 415 17
rect 449 -17 511 17
rect 545 -17 607 17
rect 641 -17 703 17
rect 737 -17 799 17
rect 833 -17 895 17
rect 929 -17 991 17
rect 1025 -17 1087 17
rect 1121 -17 1183 17
rect 1217 -17 1279 17
rect 1313 -17 1375 17
rect 1409 -17 1471 17
rect 1505 -17 1567 17
rect 1601 -17 1663 17
rect 1697 -17 1759 17
rect 1793 -17 1855 17
rect 1889 -17 1951 17
rect 1985 -17 2047 17
rect 2081 -17 2143 17
rect 2177 -17 2239 17
rect 2273 -17 2335 17
rect 2369 -17 2431 17
rect 2465 -17 2527 17
rect 2561 -17 2623 17
rect 2657 -17 2719 17
rect 2753 -17 2815 17
rect 2849 -17 2911 17
rect 2945 -17 3007 17
rect 3041 -17 3103 17
rect 3137 -17 3168 17
rect 0 -49 3168 -17
<< labels >>
flabel pwell s 0 0 3168 49 0 FreeSans 200 0 0 0 VNB
port 8 nsew ground bidirectional
flabel nwell s 0 617 3168 666 0 FreeSans 200 0 0 0 VPB
port 9 nsew power bidirectional
rlabel comment s 0 0 0 0 4 sdfbbp_1
flabel metal1 s 0 617 3168 666 0 FreeSans 340 0 0 0 VPWR
port 10 nsew power bidirectional
flabel metal1 s 0 0 3168 49 0 FreeSans 340 0 0 0 VGND
port 7 nsew ground bidirectional
flabel locali s 3103 94 3137 128 0 FreeSans 340 0 0 0 Q
port 11 nsew signal output
flabel locali s 3103 168 3137 202 0 FreeSans 340 0 0 0 Q
port 11 nsew signal output
flabel locali s 703 316 737 350 0 FreeSans 340 0 0 0 CLK
port 1 nsew clock input
flabel locali s 703 390 737 424 0 FreeSans 340 0 0 0 CLK
port 1 nsew clock input
flabel locali s 2815 390 2849 424 0 FreeSans 340 0 0 0 Q_N
port 12 nsew signal output
flabel locali s 2815 464 2849 498 0 FreeSans 340 0 0 0 Q_N
port 12 nsew signal output
flabel locali s 2815 538 2849 572 0 FreeSans 340 0 0 0 Q_N
port 12 nsew signal output
flabel locali s 2623 242 2657 276 0 FreeSans 340 0 0 0 RESET_B
port 3 nsew signal input
flabel locali s 1471 316 1505 350 0 FreeSans 340 0 0 0 SET_B
port 6 nsew signal input
flabel locali s 319 316 353 350 0 FreeSans 340 0 0 0 D
port 2 nsew signal input
flabel locali s 223 316 257 350 0 FreeSans 340 0 0 0 SCE
port 5 nsew signal input
flabel locali s 31 316 65 350 0 FreeSans 340 0 0 0 SCD
port 4 nsew signal input
<< properties >>
string LEFsite unit
string LEFclass CORE
string FIXED_BBOX 0 0 3168 666
string GDS_FILE $PDKPATH/libs.ref/sky130_fd_sc_lp/gds/sky130_fd_sc_lp.gds
string LEFsymmetry X Y R90
string GDS_END 7004052
string GDS_START 6981462
<< end >>
